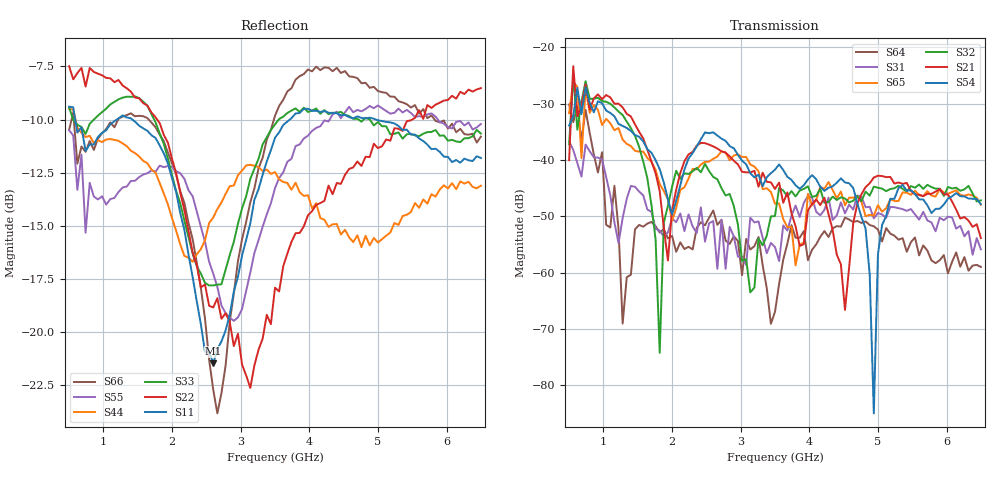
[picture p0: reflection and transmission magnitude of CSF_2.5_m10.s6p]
!Keysight Technologies,M9804A,MY58100912,A.14.10.03
!Date: Thursday, April 27, 2023 10:28:33
!Correction: S11(C  6-Port  )
!S12(C  6-Port  )
!S13(C  6-Port  )
!S14(C  6-Port  )
!S15(C  6-Port  )
!S16(C  6-Port  )
!S21(C  6-Port  )
!S22(C  6-Port  )
!S23(C  6-Port  )
!S24(C  6-Port  )
!S25(C  6-Port  )
!S26(C  6-Port  )
!S31(C  6-Port  )
!S32(C  6-Port  )
!S33(C  6-Port  )
!S34(C  6-Port  )
!S35(C  6-Port  )
!S36(C  6-Port  )
!S41(C  6-Port  )
!S42(C  6-Port  )
!S43(C  6-Port  )
!S44(C  6-Port  )
!S45(C  6-Port  )
!S46(C  6-Port  )
!S51(C  6-Port  )
!S52(C  6-Port  )
!S53(C  6-Port  )
!S54(C  6-Port  )
!S55(C  6-Port  )
!S56(C  6-Port  )
!S61(C  6-Port  )
!S62(C  6-Port  )
!S63(C  6-Port  )
!S64(C  6-Port  )
!S65(C  6-Port  )
!S66(C  6-Port  )
!S6P File: Measurement: :
# Hz S  RI  R 50
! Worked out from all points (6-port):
!   101 points, 500 MHz to 6.5 GHz, reference 50 ohm
!   strongest paths, dB at 500 MHz, 2 GHz, 3.5 GHz, 5 GHz, 6.5 GHz:
!     S54: -33.9, -49.7, -41.7, -56.8, -47.8
!     S21: -40.0, -48.9, -45.1, -42.8, -53.9
!     S32: -37.2, -44.8, -50.0, -44.9, -47.2
!     S65: -31.7, -50.8, -47.8, -48.0, -47.9
!     S31: -36.7, -50.4, -55.5, -49.4, -55.9
!     S64: -30.1, -53.5, -67.0, -52.4, -59.0
!   lowest |S11| = -21.5 dB at 2.6 GHz (marker M1), VSWR 1.18, Z = 42.5 + j2.18 ohm
!   |S11| at or under -10 dB: 589.1 MHz to 1.193 GHz (604.1 MHz wide, 67.8 % of centre); 1.423 GHz to 3.714 GHz (2.291 GHz wide, 89.2 % of centre); 4.974 GHz to end of sweep
